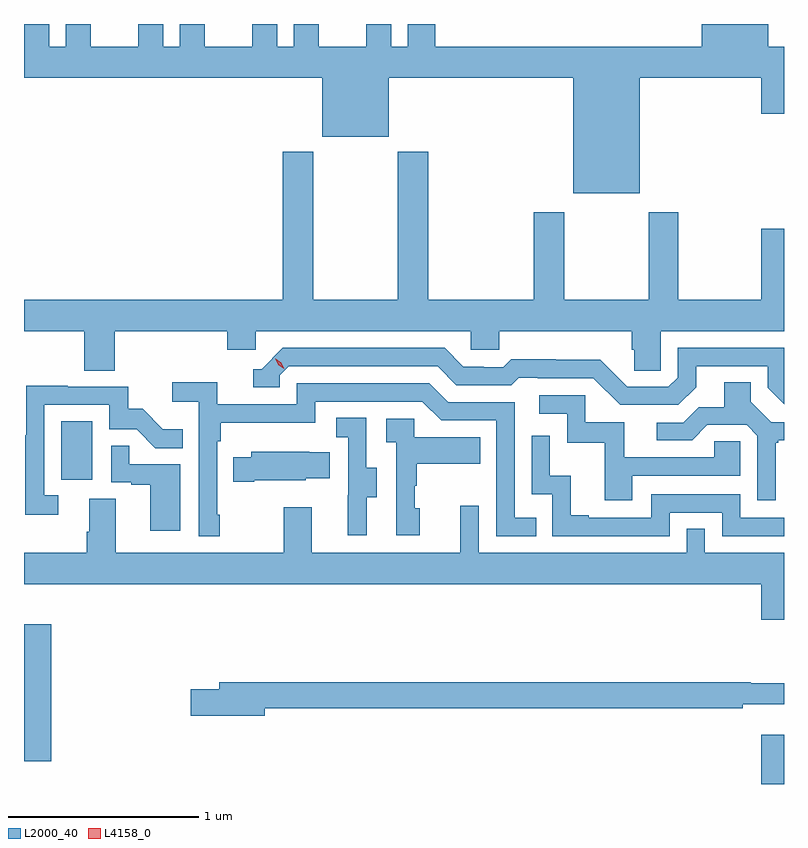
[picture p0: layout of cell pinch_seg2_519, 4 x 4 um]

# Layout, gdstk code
import gdstk
lib = gdstk.Library(unit=1e-6, precision=1e-09)
def R(c, l, rs):  # rectangles x0, y0, x1, y1
    for r in rs: c.add(gdstk.rectangle(r[:2], r[2:], *l))
def P(c, l, *ps):  # polygons
    for p in ps: c.add(gdstk.Polygon(p, *l))
L2000_40 = (2000, 40)
L4158_0 = (4158, 0)

pinch_seg2_519 = lib.new_cell('pinch_seg2_519')
R(pinch_seg2_519, L2000_40, [(980.192,599.964,980.312,600.223), (976.312,600.084,976.456,600.805), (976.508,601.566,976.672,601.873)])
P(pinch_seg2_519, L2000_40, [(979.552,603.68),(980.192,603.68),(980.192,603.492),(980.312,603.492),(980.312,603.844),(980.23,603.844),(980.23,603.964),(979.88,603.964),(979.88,603.844),(978.476,603.844),(978.476,603.964),(978.332,603.964),(978.332,603.844),(978.244,603.844),(978.244,603.964),(978.113,603.964),(978.113,603.844),(977.863,603.844),(977.863,603.964),(977.732,603.964),(977.732,603.844),(977.644,603.844),(977.644,603.964),(977.513,603.964),(977.513,603.844),(977.263,603.844),(977.263,603.964),(977.132,603.964),(977.132,603.844),(977.044,603.844),(977.044,603.964),(976.913,603.964),(976.913,603.844),(976.663,603.844),(976.663,603.964),(976.532,603.964),(976.532,603.844),(976.444,603.844),(976.444,603.964),(976.312,603.964),(976.312,603.68),(977.882,603.68),(977.882,603.371),(978.232,603.371),(978.232,603.68),(979.202,603.68),(979.202,603.074),(979.552,603.074)],
  [(976.79,602.348),(977.381,602.348),(977.381,602.25),(977.532,602.25),(977.532,602.348),(978.663,602.348),(978.663,602.25),(978.813,602.25),(978.813,602.348),(979.511,602.348),(979.511,602.25),(979.525,602.25),(979.525,602.14),(979.662,602.14),(979.662,602.348),(980.312,602.348),(980.312,602.887),(980.192,602.887),(980.192,602.512),(979.755,602.512),(979.755,602.974),(979.6,602.974),(979.6,602.512),(979.155,602.512),(979.155,602.974),(978.995,602.974),(978.995,602.512),(978.44,602.512),(978.44,603.292),(978.28,603.292),(978.28,602.512),(977.835,602.512),(977.835,603.292),(977.675,603.292),(977.675,602.512),(976.312,602.512),(976.312,602.348),(976.63,602.348),(976.63,602.14),(976.79,602.14)],
  [(979.849,602.053),(979.849,602.163),(980.226,602.163),(980.226,602.049),(980.312,601.963),(980.312,602.259),(979.752,602.259),(979.752,602.103),(979.704,602.055),(979.488,602.055),(979.346,602.197),(979.11,602.197),(979.11,602.2),(978.877,602.2),(978.835,602.157),(978.732,602.157),(978.732,602.16),(978.625,602.16),(978.526,602.259),(977.673,602.259),(977.562,602.148),(977.519,602.148),(977.519,602.052),(977.658,602.052),(977.658,602.115),(977.706,602.163),(978.489,602.163),(978.588,602.064),(978.877,602.064),(978.916,602.103),(979.015,602.103),(979.015,602.1),(979.308,602.1),(979.449,601.959),(979.755,601.959)],
  [(977.341,601.381),(977.328,601.381),(977.328,601.769),(977.348,601.769),(977.348,601.865),(977.844,601.865),(977.844,601.977),(978.408,601.977),(978.507,601.878),(978.798,601.878),(978.798,601.269),(979.007,601.269),(979.007,601.365),(978.894,601.365),(978.894,601.974),(978.544,601.974),(978.445,602.073),(977.748,602.073),(977.748,601.962),(977.33,601.962),(977.33,602.078),(977.091,602.078),(977.091,601.976),(977.232,601.976),(977.232,601.269),(977.341,601.269)],
  [(980.269,601.761),(980.281,601.761),(980.281,601.772),(980.312,601.772),(980.312,601.869),(980.244,601.869),(980.137,601.976),(980.137,602.078),(979.997,602.078),(979.997,601.946),(979.862,601.946),(979.782,601.866),(979.641,601.866),(979.641,601.773),(979.828,601.773),(979.909,601.854),(980.115,601.854),(980.172,601.797),(980.172,601.458),(980.269,601.458)],
  [(976.492,601.485),(976.419,601.485),(976.419,601.959),(976.761,601.959),(976.761,601.83),(976.905,601.83),(977.003,601.732),(977.147,601.732),(977.147,601.831),(977.043,601.831),(976.936,601.938),(976.86,601.938),(976.86,602.055),(976.541,602.055),(976.541,602.06),(976.323,602.06),(976.323,601.799),(976.318,601.799),(976.318,601.38),(976.492,601.38)],
  [(979.513,601.587),(980.082,601.587),(980.082,601.767),(979.945,601.767),(979.945,601.683),(979.471,601.683),(979.471,601.869),(979.266,601.869),(979.266,602.01),(979.023,602.01),(979.023,601.914),(979.17,601.914),(979.17,601.761),(979.369,601.761),(979.369,601.458),(979.513,601.458)],
  [(978.115,601.474),(978.169,601.474),(978.169,601.629),(978.114,601.629),(978.114,601.892),(977.955,601.892),(977.955,601.789),(978.018,601.789),(978.018,601.485),(978.017,601.485),(978.017,601.272),(978.115,601.272)],
  [(978.394,601.416),(978.369,601.416),(978.369,601.535),(978.379,601.535),(978.379,601.649),(978.713,601.649),(978.713,601.789),(978.366,601.789),(978.366,601.887),(978.219,601.887),(978.219,601.763),(978.27,601.763),(978.27,601.272),(978.394,601.272)],
  [(979.71,601.392),(979.986,601.392),(979.986,601.269),(980.312,601.269),(980.312,601.365),(980.082,601.365),(980.082,601.488),(979.614,601.488),(979.614,601.365),(979.285,601.365),(979.285,601.378),(979.19,601.378),(979.19,601.586),(979.08,601.586),(979.08,601.798),(978.984,601.798),(978.984,601.488),(979.092,601.488),(979.092,601.269),(979.71,601.269)],
  [(977.134,601.647),(976.865,601.647),(976.865,601.745),(976.77,601.745),(976.77,601.551),(976.877,601.551),(976.877,601.539),(976.976,601.539),(976.976,601.296),(977.134,601.296)],
  [(977.524,601.562),(977.796,601.562),(977.796,601.574),(977.921,601.574),(977.921,601.711),(977.813,601.711),(977.813,601.714),(977.507,601.714),(977.507,601.684),(977.413,601.684),(977.413,601.555),(977.524,601.555)],
  [(980.312,601.18),(979.896,601.18),(979.896,601.307),(979.8,601.307),(979.8,601.18),(978.705,601.18),(978.705,601.429),(978.608,601.429),(978.608,601.18),(977.827,601.18),(977.827,601.42),(977.68,601.42),(977.68,601.18),(976.795,601.18),(976.795,601.466),(976.655,601.466),(976.655,601.292),(976.643,601.292),(976.643,601.18),(976.312,601.18),(976.312,601.016),(980.192,601.016),(980.192,600.828),(980.312,600.828)],
  [(977.578,600.364),(980.096,600.364),(980.096,600.383),(980.312,600.383),(980.312,600.493),(980.137,600.493),(980.137,600.5),(977.339,600.5),(977.339,600.464),(977.19,600.464),(977.19,600.322),(977.578,600.322)])
P(pinch_seg2_519, L4158_0, [(977.683,602.15),(977.652,602.169),(977.635,602.201),(977.635,602.201),(977.636,602.201),(977.666,602.182),(977.683,602.15),(977.683,602.15)])

lib.write_gds('pinch_seg2_519.gds')
